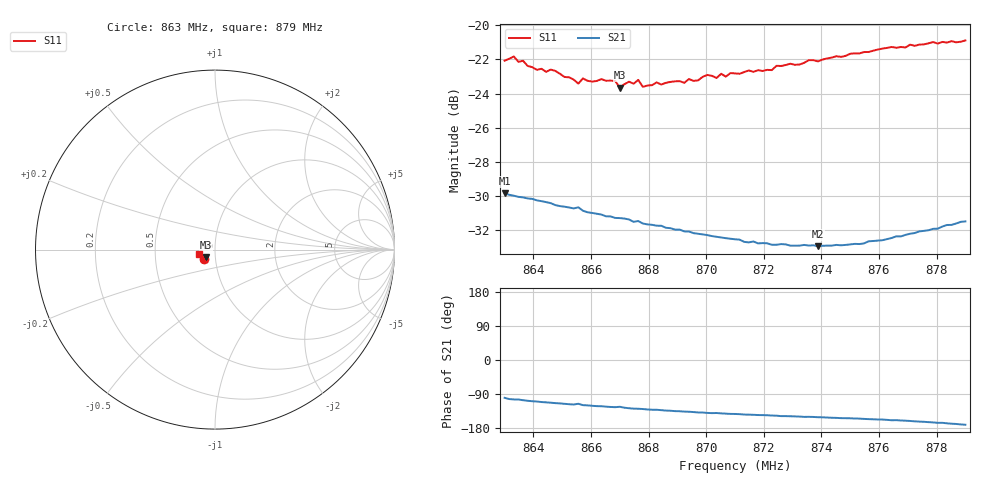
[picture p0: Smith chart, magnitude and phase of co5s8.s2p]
# HZ S RI R 50
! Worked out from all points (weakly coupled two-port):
!   101 points, 863 MHz to 879 MHz, reference 50 ohm
!   highest |S21| = -29.83 dB at 863 MHz (marker M1); lowest = -32.9 dB at 873.88 MHz (marker M2)
!   lowest |S11| = -23.7 dB at 867 MHz (marker M3), VSWR 1.14, Z = 45.1 - j3.92 ohm
!   |S11| at or under -10 dB: start of sweep to end of sweep
!   S12 and S22 are empty: the file has one direction only
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8.63e8  -0.0602 -0.0506  -0.00552 -0.0318  0 0  0 0
8.6332e8  -0.0645 -0.0488  -0.00771 -0.0308  0 0  0 0
8.6412e8  -0.0583 -0.0456  -0.0103 -0.029  0 0  0 0
8.6476e8  -0.0573 -0.046  -0.012 -0.0273  0 0  0 0
8.6556e8  -0.0516 -0.0435  -0.0126 -0.0265  0 0  0 0
8.6572e8  -0.0537 -0.0446  -0.014 -0.0251  0 0  0 0
8.6684e8  -0.0517 -0.0451  -0.0155 -0.0225  0 0  0 0
8.67e8  -0.0494 -0.0432  -0.015 -0.0228  0 0  0 0
8.6764e8  -0.0518 -0.0458  -0.0167 -0.0209  0 0  0 0
8.678e8  -0.0498 -0.0433  -0.0167 -0.0203  0 0  0 0
8.6828e8  -0.0506 -0.0454  -0.0171 -0.0195  0 0  0 0
8.6844e8  -0.0502 -0.0444  -0.0175 -0.0191  0 0  0 0
8.6972e8  -0.0507 -0.0468  -0.0184 -0.0163  0 0  0 0
8.7004e8  -0.0531 -0.0479  -0.0185 -0.0158  0 0  0 0
8.7036e8  -0.0522 -0.0467  -0.0184 -0.0155  0 0  0 0
8.71e8  -0.0546 -0.0473  -0.0188 -0.0144  0 0  0 0
8.7228e8  -0.0574 -0.0465  -0.019 -0.0126  0 0  0 0
8.7244e8  -0.0599 -0.0468  -0.0191 -0.0125  0 0  0 0
8.7372e8  -0.0633 -0.0472  -0.0197 -0.0113  0 0  0 0
8.7388e8  -0.0637 -0.0455  -0.0198 -0.0109  0 0  0 0
8.7644e8  -0.0774 -0.0381  -0.0223 -0.00854  0 0  0 0
8.79e8  -0.087 -0.0235  -0.0263 -0.00427  0 0  0 0
